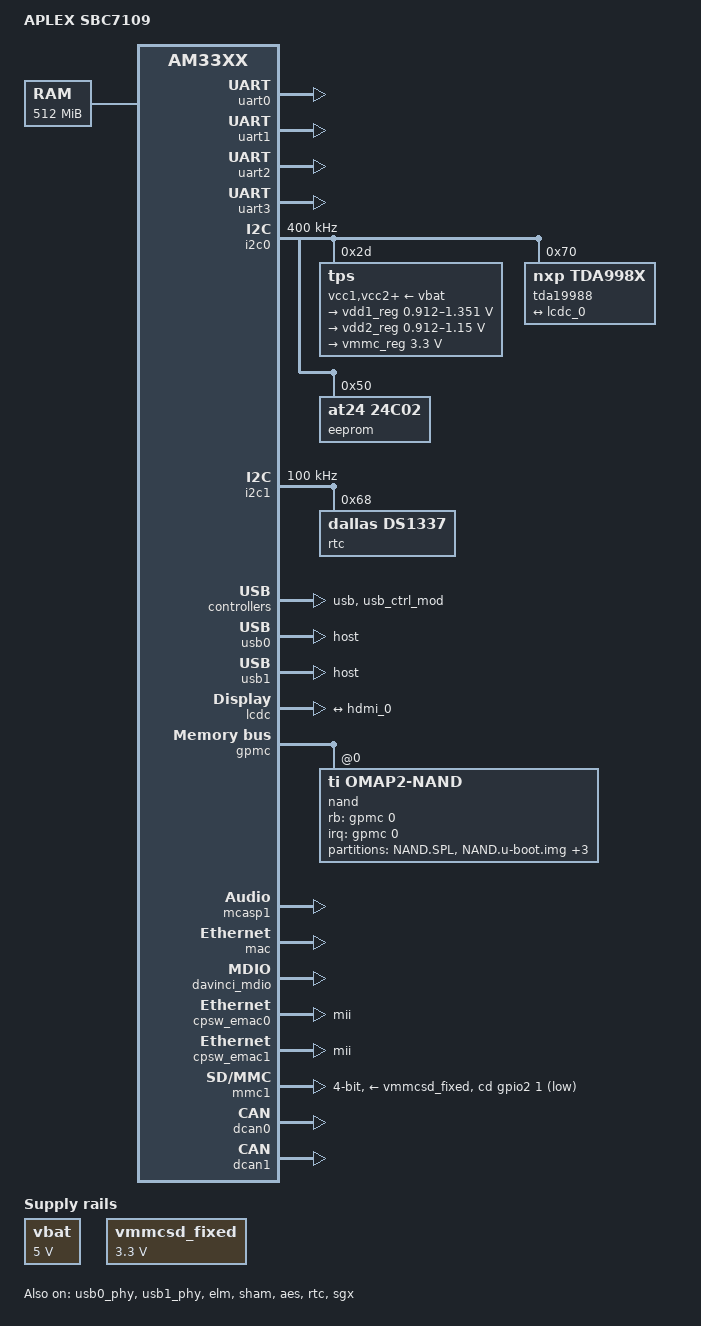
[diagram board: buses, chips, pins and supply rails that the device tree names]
/*
 * Copyright (C) 2012 Texas Instruments Incorporated - http://www.ti.com/
 *
 * This program is free software; you can redistribute it and/or modify
 * it under the terms of the GNU General Public License version 2 as
 * published by the Free Software Foundation.
 */
/dts-v1/;

#include "am33xx.dtsi"
#include <dt-bindings/interrupt-controller/irq.h>

/ {
	model = "APLEX SBC7109";
	compatible = "ti,am335x-sbc_7109_455", "ti,am33xx";

	chosen {
		linux,stdout-path = &uart1;
	};

	cpus {
		cpu@0 {
			cpu0-supply = <&vdd1_reg>;
		};
	};

	memory {
		device_type = "memory";
		reg = <0x80000000 0x20000000>; /* 512 MB */
		//reg = <0x40000000 0x20000000>; /* 256 MB */
	};

	vbat: fixedregulator@0 {
		compatible = "regulator-fixed";
		regulator-name = "vbat";
		regulator-min-microvolt = <5000000>;
		regulator-max-microvolt = <5000000>;
		regulator-boot-on;
	};

	vmmcsd_fixed: fixedregulator@0 {
		compatible = "regulator-fixed";
		regulator-name = "vmmcsd_fixed";
		regulator-min-microvolt = <3300000>;
		regulator-max-microvolt = <3300000>;
	};
};

&am33xx_pinmux {
	i2c0_pins: pinmux_i2c0_pins {
		pinctrl-single,pins = <
			0x188 (PIN_INPUT_PULLUP | MUX_MODE0)	/* i2c0_sda.i2c0_sda */
			0x18c (PIN_INPUT_PULLUP | MUX_MODE0)	/* i2c0_scl.i2c0_scl */

			0xe0 ( PIN_OUTPUT | MUX_MODE0 ) /* (U5) lcd_vsync.lcd_vsync */
			0xe4 ( PIN_OUTPUT | MUX_MODE0 ) /* (R5) lcd_hsync.lcd_hsync */
			0xe8 ( PIN_OUTPUT | MUX_MODE0 ) /* (V5) lcd_pclk.lcd_pclk */
			0xec ( PIN_OUTPUT | MUX_MODE0 ) /* (R6) lcd_ac_bias_en.lcd_ac_bias_en */
			0xa0 ( PIN_OUTPUT | MUX_MODE0 ) /* (R1) lcd_data0.lcd_data0 */
			0xa4 ( PIN_OUTPUT | MUX_MODE0 ) /* (R2) lcd_data1.lcd_data1 */
			0xa8 ( PIN_OUTPUT | MUX_MODE0 ) /* (R3) lcd_data2.lcd_data2 */
			0xac ( PIN_OUTPUT | MUX_MODE0 ) /* (R4) lcd_data3.lcd_data3 */
			0xb0 ( PIN_OUTPUT | MUX_MODE0 ) /* (T1) lcd_data4.lcd_data4 */
			0xb4 ( PIN_OUTPUT | MUX_MODE0 ) /* (T2) lcd_data5.lcd_data5 */
			0xb8 ( PIN_OUTPUT | MUX_MODE0 ) /* (T3) lcd_data6.lcd_data6 */
			0xbc ( PIN_OUTPUT | MUX_MODE0 ) /* (T4) lcd_data7.lcd_data7 */
			0xc0 ( PIN_OUTPUT | MUX_MODE0 ) /* (U1) lcd_data8.lcd_data8 */
			0xc4 ( PIN_OUTPUT | MUX_MODE0 ) /* (U2) lcd_data9.lcd_data9 */
			0xc8 ( PIN_OUTPUT | MUX_MODE0 ) /* (U3) lcd_data10.lcd_data10 */
			0xcc ( PIN_OUTPUT | MUX_MODE0 ) /* (U4) lcd_data11.lcd_data11 */
			0xd0 ( PIN_OUTPUT | MUX_MODE0 ) /* (V2) lcd_data12.lcd_data12 */
			0xd4 ( PIN_OUTPUT | MUX_MODE0 ) /* (V3) lcd_data13.lcd_data13 */
			0xd8 ( PIN_OUTPUT | MUX_MODE0 ) /* (V4) lcd_data14.lcd_data14 */
			0xdc ( PIN_OUTPUT | MUX_MODE0 ) /* (T5) lcd_data15.lcd_data15 */

		>;
	};

	i2c1_pins: pinmux_i2c1_pins {
		pinctrl-single,pins = <
			0x158 (PIN_INPUT_PULLUP | MUX_MODE2)	/* spi0_d1.i2c1_sda */
			0x15c (PIN_INPUT_PULLUP | MUX_MODE2)	/* spi0_cs0.i2c1_scl */
		>;
	};

	uart0_pins: pinmux_uart0_pins {
		pinctrl-single,pins = <
			0x170 (PIN_INPUT_PULLUP | MUX_MODE0)	/* uart0_rxd.uart0_rxd */
			0x174 (PIN_OUTPUT_PULLDOWN | MUX_MODE0)	/* uart0_txd.uart0_txd */

            0x144 (PIN_OUTPUT | MUX_MODE7)  /* mii1_refclk.gpio0_29 */
		>;
	};

    uart1_pins: pinmux_uart1_pins {
		pinctrl-single,pins = <
			0x180 (PIN_INPUT_PULLUP | MUX_MODE0)	/* uart1_rxd.uart1_rxd */
			0x184 (PIN_OUTPUT_PULLDOWN | MUX_MODE0)	/* uart1_txd.uart1_txd */
		>;
	};

    uart2_pins: pinmux_uart2_pins {
		pinctrl-single,pins = <
			0x150 (PIN_INPUT_PULLUP | MUX_MODE1)	/* spi0_sclk.uart2_rxd */
			0x154 (PIN_OUTPUT_PULLDOWN | MUX_MODE1)	/* spi0_d0.uart2_txd */

			0x20 (PIN_OUTPUT_PULLDOWN | MUX_MODE7)	/* gpmc_ad8.gpio0_22 */
		>;
	};

    uart3_pins: pinmux_uart3_pins {
		pinctrl-single,pins = <
			0x160 (PIN_INPUT_PULLUP | MUX_MODE1)	/* spi0_cs1.uart3_rxd */
			0x164 (PIN_OUTPUT_PULLDOWN | MUX_MODE1)	/* ecap0_in_pwm0_out.uart3_txd */
		>;
	};

	nandflash_pins_s0: nandflash_pins_s0 {
		pinctrl-single,pins = <
			0x0 (PIN_INPUT_PULLUP | MUX_MODE0)	/* gpmc_ad0.gpmc_ad0 */
			0x4 (PIN_INPUT_PULLUP | MUX_MODE0)	/* gpmc_ad1.gpmc_ad1 */
			0x8 (PIN_INPUT_PULLUP | MUX_MODE0)	/* gpmc_ad2.gpmc_ad2 */
			0xc (PIN_INPUT_PULLUP | MUX_MODE0)	/* gpmc_ad3.gpmc_ad3 */
			0x10 (PIN_INPUT_PULLUP | MUX_MODE0)	/* gpmc_ad4.gpmc_ad4 */
			0x14 (PIN_INPUT_PULLUP | MUX_MODE0)	/* gpmc_ad5.gpmc_ad5 */
			0x18 (PIN_INPUT_PULLUP | MUX_MODE0)	/* gpmc_ad6.gpmc_ad6 */
			0x1c (PIN_INPUT_PULLUP | MUX_MODE0)	/* gpmc_ad7.gpmc_ad7 */
			0x70 (PIN_INPUT_PULLUP | MUX_MODE0)	/* gpmc_wait0.gpmc_wait0 */
			0x7c (PIN_OUTPUT | MUX_MODE0)		/* gpmc_csn0.gpmc_csn0  */
			0x90 (PIN_OUTPUT | MUX_MODE0)		/* gpmc_advn_ale.gpmc_advn_ale */
			0x94 (PIN_OUTPUT | MUX_MODE0)		/* gpmc_oen_ren.gpmc_oen_ren */
			0x98 (PIN_OUTPUT | MUX_MODE0)		/* gpmc_wen.gpmc_wen */
			0x9c (PIN_OUTPUT | MUX_MODE0)		/* gpmc_be0n_cle.gpmc_be0n_cle */
		>;
	};

     emmc_pins: pinmux_emmc_pins {
   // 	pinctrl-single,pins = <
   // 		0x80 (PIN_INPUT_PULLUP | MUX_MODE2) /* gpmc_csn1.mmc1_clk */
   // 		0x84 (PIN_INPUT_PULLUP | MUX_MODE2) /* gpmc_csn2.mmc1_cmd */
   // 		0x00 (PIN_INPUT_PULLUP | MUX_MODE1) /* gpmc_ad0.mmc1_dat0 */
   // 		0x04 (PIN_INPUT_PULLUP | MUX_MODE1) /* gpmc_ad1.mmc1_dat1 */
   // 		0x08 (PIN_INPUT_PULLUP | MUX_MODE1) /* gpmc_ad2.mmc1_dat2 */
   // 		0x0c (PIN_INPUT_PULLUP | MUX_MODE1) /* gpmc_ad3.mmc1_dat3 */
   // 		0x10 (PIN_INPUT_PULLUP | MUX_MODE1) /* gpmc_ad4.mmc1_dat4 */
   // 		0x14 (PIN_INPUT_PULLUP | MUX_MODE1) /* gpmc_ad5.mmc1_dat5 */
   // 		0x18 (PIN_INPUT_PULLUP | MUX_MODE1) /* gpmc_ad6.mmc1_dat6 */
   // 		0x1c (PIN_INPUT_PULLUP | MUX_MODE1) /* gpmc_ad7.mmc1_dat7 */
   // 	>;
     };

	mmc1_pins: pinmux_mmc1_pins {
		pinctrl-single,pins = <
			0xf0 (PIN_INPUT_PULLUP | MUX_MODE0)	/* mmc0_dat3 */
			0xf4 (PIN_INPUT_PULLUP | MUX_MODE0)	/* mmc0_dat2 */
			0xf8 (PIN_INPUT_PULLUP | MUX_MODE0)	/* mmc0_dat1 */
			0xfc (PIN_INPUT_PULLUP | MUX_MODE0)	/* mmc0_dat0 */
			0x100 (PIN_INPUT_PULLUP | MUX_MODE0)	/* mmc0_clk */
			0x104 (PIN_INPUT_PULLUP | MUX_MODE0)	/* mmc0_cmd */
			0x8c (PIN_INPUT | MUX_MODE7)	/* gpmc_clk.gpio2_1  sd_cs */
		>;
	};

	cpsw_default: cpsw_default {
		pinctrl-single,pins = <
			/* Slave 1 */
			0x110 ( PIN_INPUT_PULLDOWN | MUX_MODE0 )    /* (J15) ggmii1_rxer */
			0x114 ( PIN_OUTPUT         | MUX_MODE0 )	/* (J16) gmii1_txen */
			0x118 ( PIN_INPUT_PULLDOWN | MUX_MODE0 )	/* (J17) gmii1_rxdv */
			0x11c ( PIN_OUTPUT         | MUX_MODE0 )	/* (J18) gmii1_txd3 */
			0x120 ( PIN_OUTPUT         | MUX_MODE0 )	/* (K15) gmii1_txd2 */
			0x124 ( PIN_OUTPUT         | MUX_MODE0 )	/* (K16) gmii1_txd1 */
			0x128 ( PIN_OUTPUT         | MUX_MODE0 )	/* (K17) gmii1_txd0 */
			0x12c ( PIN_INPUT_PULLDOWN | MUX_MODE0 )	/* (K18) gmii1_txclk */
			0x130 ( PIN_INPUT_PULLDOWN | MUX_MODE0 )	/* (L18) gmii1_rxclk */
			0x134 ( PIN_INPUT_PULLDOWN | MUX_MODE0 )	/* (L17) gmii1_rxd3 */
			0x138 ( PIN_INPUT_PULLDOWN | MUX_MODE0 )	/* (L16) gmii1_rxd2 */
			0x13c ( PIN_INPUT_PULLDOWN | MUX_MODE0 )	/* (L15) gmii1_rxd1 */
			0x140 ( PIN_INPUT_PULLDOWN | MUX_MODE0 )	/* (M16) gmii1_rxd0 */
			0x74 ( PIN_INPUT_PULLDOWN  | MUX_MODE1 )    /* (U17) gpmc_wpn.gmii2_rxerr */
			0x40 ( PIN_OUTPUT          | MUX_MODE1 )    /* (R13) gpmc_a0.gmii2_txen */
			0x44 ( PIN_INPUT_PULLDOWN  | MUX_MODE1 )    /* (V14) gpmc_a1.gmii2_rxdv */
			0x58 ( PIN_INPUT_PULLDOWN  | MUX_MODE1 )    /* (U15) gpmc_a6.gmii2_txclk */
			0x5c ( PIN_INPUT_PULLDOWN  | MUX_MODE1 )    /* (T15) gpmc_a7.gmii2_rxclk */
			0x54 ( PIN_OUTPUT          | MUX_MODE1 )    /* (V15) gpmc_a5.gmii2_txd0 */
			0x50 ( PIN_OUTPUT          | MUX_MODE1 )    /* (R14) gpmc_a4.gmii2_txd1 */
			0x4c ( PIN_OUTPUT          | MUX_MODE1 )    /* (T14) gpmc_a3.gmii2_txd2 */
			0x48 ( PIN_OUTPUT          | MUX_MODE1 )    /* (U14) gpmc_a2.gmii2_txd3 */
			0x6c ( PIN_INPUT           | MUX_MODE1 )    /* (V17) gpmc_a11.gmii2_rxd0 */
			0x68 ( PIN_INPUT           | MUX_MODE1 )    /* (T16) gpmc_a10.gmii2_rxd1 */
			0x64 ( PIN_INPUT           | MUX_MODE1 )    /* (U16) gpmc_a9.gmii2_rxd2 */
			0x60 ( PIN_INPUT           | MUX_MODE1 )    /* (V16) gpmc_a8.gmii2_rxd3 */
		>;
	};

	cpsw_sleep: cpsw_sleep {
		pinctrl-single,pins = <
			/* Slave 1 reset value */
			0x114 (PIN_INPUT_PULLDOWN | MUX_MODE7)
			0x118 (PIN_INPUT_PULLDOWN | MUX_MODE7)
			0x11c (PIN_INPUT_PULLDOWN | MUX_MODE7)
			0x120 (PIN_INPUT_PULLDOWN | MUX_MODE7)
			0x124 (PIN_INPUT_PULLDOWN | MUX_MODE7)
			0x128 (PIN_INPUT_PULLDOWN | MUX_MODE7)
			0x12c (PIN_INPUT_PULLDOWN | MUX_MODE7)
			0x130 (PIN_INPUT_PULLDOWN | MUX_MODE7)
			0x134 (PIN_INPUT_PULLDOWN | MUX_MODE7)
			0x138 (PIN_INPUT_PULLDOWN | MUX_MODE7)
			0x13c (PIN_INPUT_PULLDOWN | MUX_MODE7)
			0x140 (PIN_INPUT_PULLDOWN | MUX_MODE7)
			0x78 ( PIN_INPUT_PULLDOWN | MUX_MODE7 ) /* (U18) gpmc_be1n.gmii2_col */
			0x74 ( PIN_INPUT_PULLDOWN | MUX_MODE7 ) /* (U17) gpmc_wpn.gmii2_rxer */
			0x40 ( PIN_INPUT_PULLDOWN | MUX_MODE7 ) /* (R13) gpmc_a0.gmii2_txen */
			0x44 ( PIN_INPUT_PULLDOWN | MUX_MODE7 ) /* (V14) gpmc_a1.gmii2_rxdv */
			0x58 ( PIN_INPUT_PULLDOWN | MUX_MODE7 ) /* (U15) gpmc_a6.gmii2_txclk */
			0x5c ( PIN_INPUT_PULLDOWN | MUX_MODE7 ) /* (T15) gpmc_a7.gmii2_rxclk */
			0x54 ( PIN_INPUT_PULLDOWN | MUX_MODE7 ) /* (V15) gpmc_a5.gmii2_txd0 */
			0x50 ( PIN_INPUT_PULLDOWN | MUX_MODE7 ) /* (R14) gpmc_a4.gmii2_txd1 */
			0x4c ( PIN_INPUT_PULLDOWN | MUX_MODE7 ) /* (T14) gpmc_a3.gmii2_txd2 */
			0x48 ( PIN_INPUT_PULLDOWN | MUX_MODE7 ) /* (U14) gpmc_a2.gmii2_txd3 */
			0x6c ( PIN_INPUT_PULLDOWN | MUX_MODE7 ) /* (V17) gpmc_a11.gmii2_rxd0 */
			0x68 ( PIN_INPUT_PULLDOWN | MUX_MODE7 ) /* (T16) gpmc_a10.gmii2_rxd1 */
			0x64 ( PIN_INPUT_PULLDOWN | MUX_MODE7 ) /* (U16) gpmc_a9.gmii2_rxd2 */
			0x60 ( PIN_INPUT_PULLDOWN | MUX_MODE7 ) /* (V16) gpmc_a8.gmii2_rxd3 */
		>;
	};

	davinci_mdio_default: davinci_mdio_default {
		pinctrl-single,pins = <
			/* MDIO */
			0x148 (PIN_INPUT_PULLUP | SLEWCTRL_FAST | MUX_MODE0)	/* mdio_data.mdio_data */
			0x14c (PIN_OUTPUT_PULLUP | MUX_MODE0)			/* mdio_clk.mdio_clk */
		>;
	};

	davinci_mdio_sleep: davinci_mdio_sleep {
		pinctrl-single,pins = <
			/* MDIO reset value */
			0x148 (PIN_INPUT_PULLDOWN | MUX_MODE7)
			0x14c (PIN_INPUT_PULLDOWN | MUX_MODE7)
		>;
	};

	lcd_pins_s0: lcd_pins_s0 {
		pinctrl-single,pins = <
			0xe0 ( PIN_OUTPUT | MUX_MODE0 ) /* (U5) lcd_vsync.lcd_vsync */
			0xe4 ( PIN_OUTPUT | MUX_MODE0 ) /* (R5) lcd_hsync.lcd_hsync */
			0xe8 ( PIN_OUTPUT | MUX_MODE0 ) /* (V5) lcd_pclk.lcd_pclk */
			0xec ( PIN_OUTPUT | MUX_MODE0 ) /* (R6) lcd_ac_bias_en.lcd_ac_bias_en */
			0xa0 ( PIN_OUTPUT | MUX_MODE0 ) /* (R1) lcd_data0.lcd_data0 */
			0xa4 ( PIN_OUTPUT | MUX_MODE0 ) /* (R2) lcd_data1.lcd_data1 */
			0xa8 ( PIN_OUTPUT | MUX_MODE0 ) /* (R3) lcd_data2.lcd_data2 */
			0xac ( PIN_OUTPUT | MUX_MODE0 ) /* (R4) lcd_data3.lcd_data3 */
			0xb0 ( PIN_OUTPUT | MUX_MODE0 ) /* (T1) lcd_data4.lcd_data4 */
			0xb4 ( PIN_OUTPUT | MUX_MODE0 ) /* (T2) lcd_data5.lcd_data5 */
			0xb8 ( PIN_OUTPUT | MUX_MODE0 ) /* (T3) lcd_data6.lcd_data6 */
			0xbc ( PIN_OUTPUT | MUX_MODE0 ) /* (T4) lcd_data7.lcd_data7 */
			0xc0 ( PIN_OUTPUT | MUX_MODE0 ) /* (U1) lcd_data8.lcd_data8 */
			0xc4 ( PIN_OUTPUT | MUX_MODE0 ) /* (U2) lcd_data9.lcd_data9 */
			0xc8 ( PIN_OUTPUT | MUX_MODE0 ) /* (U3) lcd_data10.lcd_data10 */
			0xcc ( PIN_OUTPUT | MUX_MODE0 ) /* (U4) lcd_data11.lcd_data11 */
			0xd0 ( PIN_OUTPUT | MUX_MODE0 ) /* (V2) lcd_data12.lcd_data12 */
			0xd4 ( PIN_OUTPUT | MUX_MODE0 ) /* (V3) lcd_data13.lcd_data13 */
			0xd8 ( PIN_OUTPUT | MUX_MODE0 ) /* (V4) lcd_data14.lcd_data14 */
			0xdc ( PIN_OUTPUT | MUX_MODE0 ) /* (T5) lcd_data15.lcd_data15 */
		>;
	};

	mcasp1_pins: mcasp1_pins {
		pinctrl-single,pins = <
//			0x1ac ( PIN_INPUT | MUX_MODE2 ) /* (A14) mcasp0_ahclkx.mcasp0_axr3 */ //DOUT
//			0x1a0 ( PIN_INPUT | MUX_MODE0 ) /* (B12) mcasp0_aclkr.mcasp0_aclkr */ //BCLK
//			0x1a4 ( PIN_INPUT | MUX_MODE0 ) /* (C13) mcasp0_fsr.mcasp0_fsr */ //WCLK
//			0x1a8 ( PIN_INPUT | MUX_MODE0 ) /* (D13) mcasp0_axr1.mcasp0_axr1 */ //DIN
			0x1ac ( PIN_INPUT_PULLDOWN | MUX_MODE3 ) /* (A14) mcasp0_ahclkx.mcasp1_axr1 */ //DOUT
			0x1a0 ( PIN_INPUT_PULLDOWN | MUX_MODE3 ) /* (B12) mcasp0_aclkr.mcasp1_aclkx */ //BCLK
			0x1a4 ( PIN_INPUT_PULLDOWN | MUX_MODE3 ) /* (C13) mcasp0_fsr.mcasp1_fsx */ //WCLK
			0x1a8 ( PIN_OUTPUT_PULLDOWN | MUX_MODE3 ) /* (D13) mcasp0_axr1.mcasp1_axr0 */ //DIN
		>;
	};

	mcasp1_pins_sleep: mcasp1_pins_sleep {
		pinctrl-single,pins = <
			0x1ac (PIN_INPUT_PULLDOWN | MUX_MODE7)
			0x1a0 (PIN_INPUT_PULLDOWN | MUX_MODE7)
			0x1a4 (PIN_INPUT_PULLDOWN | MUX_MODE7)
			0x1a8 (PIN_INPUT_PULLDOWN | MUX_MODE7)
		>;
	};

	dcan0_pins_default: dcan0_pins_default {
		pinctrl-single,pins = <
			0x178 (PIN_OUTPUT | MUX_MODE2) /* uart1_ctsn.d_can0_tx */
			0x17c (PIN_INPUT_PULLDOWN | MUX_MODE2) /* uart1_rtsn.d_can0_rx */
		>;
	};

	dcan1_pins_default: dcan1_pins_default {
		pinctrl-single,pins = <
			0x168 (PIN_OUTPUT | MUX_MODE2) /* uart0_ctsn.d_can1_tx */
			0x16c (PIN_INPUT_PULLDOWN | MUX_MODE2) /* uart0_rtsn.d_can1_rx */
		>;
	};
};

&uart0 {
	pinctrl-names = "default";
	pinctrl-0 = <&uart0_pins>;

	status = "okay";
};

&uart1 {
	pinctrl-names = "default";
	pinctrl-0 = <&uart1_pins>;

	status = "okay";
};

&uart2 {
	pinctrl-names = "default";
	pinctrl-0 = <&uart2_pins>;

	status = "okay";
};

&uart3 {
	pinctrl-names = "default";
	pinctrl-0 = <&uart3_pins>;

	status = "okay";
};

&i2c0 {
	pinctrl-names = "default";
	pinctrl-0 = <&i2c0_pins>;

	status = "okay";
	clock-frequency = <400000>;

	tps: tps@2d {
		reg = <0x2d>;
	};

	tda19988: tda19988 {
		compatible = "nxp,tda998x";
		reg = <0x70>;

		ports {
			port@0 {
				hdmi_0: endpoint@0 {
					remote-endpoint = <&lcdc_0>;
				};
			};
		};
	};

    eeprom@50 {
        compatible = "at24,24c02";
        reg = <0x50>;
    };
};

&i2c1 {
    pinctrl-names = "default";
    pinctrl-0 = <&i2c1_pins>;

    status = "okay";
    clock-frequency = <100000>;

    rtc@68 {
        compatible = "dallas,ds1337";
        reg = <0x68>;
    };
};

&usb {
	status = "okay";
};

&usb_ctrl_mod {
	status = "okay";
};

&usb0_phy {
	status = "okay";
};

&usb1_phy {
	status = "okay";
};

&usb0 {
	status = "okay";
	dr_mode = "host";
};

&usb1 {
	status = "okay";
	dr_mode = "host";
};

&cppi41dma  {
	status = "okay";
};

&lcdc {
	status = "okay";

	blue-and-red-wiring = "straight";

	port {
		lcdc_0: endpoint@0 {
			remote-endpoint = <&hdmi_0>;
		};
	};
};

&elm {
	status = "okay";
};

&epwmss0 {
	status = "disabled";
};

&epwmss1 {
	status = "disabled";
};


&gpmc {
	status = "okay";
	pinctrl-names = "default";
	pinctrl-0 = <&nandflash_pins_s0>;
	ranges = <0 0 0x08000000 0x1000000>;	// CS0: 16MB for NAND
	nand@0,0 {
		compatible = "ti,omap2-nand";
		reg = <0 0 4>;                  // CS0, offset 0, IO size 4
		interrupt-parent = <&gpmc>;
		interrupts = <0 IRQ_TYPE_NONE>, // fifoevent
			     <1 IRQ_TYPE_NONE>;	    // termcount
		rb-gpios = <&gpmc 0 GPIO_ACTIVE_HIGH>; // gpmc_wait0
		ti,nand-ecc-opt = "bch8";
		ti,elm-id = <&elm>;
		nand-bus-width = <8>;
		gpmc,device-width = <1>;
		gpmc,sync-clk-ps = <0>;
		gpmc,cs-on-ns = <0>;
		gpmc,cs-rd-off-ns = <44>;
		gpmc,cs-wr-off-ns = <44>;
		gpmc,adv-on-ns = <6>;
		gpmc,adv-rd-off-ns = <34>;
		gpmc,adv-wr-off-ns = <44>;
		gpmc,we-on-ns = <0>;
		gpmc,we-off-ns = <40>;
		gpmc,oe-on-ns = <0>;
		gpmc,oe-off-ns = <54>;
		gpmc,access-ns = <64>;
		gpmc,rd-cycle-ns = <82>;
		gpmc,wr-cycle-ns = <82>;
		gpmc,bus-turnaround-ns = <0>;
		gpmc,cycle2cycle-delay-ns = <0>;
		gpmc,clk-activation-ns = <0>;
		gpmc,wr-access-ns = <40>;
		gpmc,wr-data-mux-bus-ns = <0>;
		// MTD partition table
		// All SPL-* partitions are sized to minimal length
		// which can be independently programmable. For
		// NAND flash this is equal to size of erase-block
		#address-cells = <1>;
		#size-cells = <1>;
		partition@0 {
			label = "NAND.SPL";
			reg = <0x00000000 0x000080000>;
		};
		partition@1 {
			label = "NAND.u-boot.img";
			reg = <0x00080000 0x00200000>;
		};
		partition@2 {
			label = "NAND.kernel.img";
			reg = <0x00280000 0x01480000>;
		};
		partition@3 {
			label = "NAND.kernel.dts";
			reg = <0x01700000 0x00080000>;
		};
		partition@4 {
			label = "NAND.rootfs.ubi";
			reg = <0x01780000 0x0F880000>;
		};
	};
};


#include "tps65910.dtsi"

&mcasp1 {
	#sound-dai-cells = <0>;
	pinctrl-names = "default", "sleep";
	pinctrl-0 = <&mcasp1_pins>;
	pinctrl-1 = <&mcasp1_pins_sleep>;

	status = "okay";

	op-mode = <0>;          /* MCASP_IIS_MODE */
	tdm-slots = <2>;
	/* 4 serializers */
	//serial-dir = <  /* 0: INACTIVE, 1: TX, 2: RX */
	//	0 1 0 2
	//>;
	serial-dir = <  /* 0: INACTIVE, 1: TX, 2: RX */
		1 2 0 0
	>;
	tx-num-evt = <32>;
	rx-num-evt = <32>;
};

&tps {
	vcc1-supply = <&vbat>;
	vcc2-supply = <&vbat>;
	vcc3-supply = <&vbat>;
	vcc4-supply = <&vbat>;
	vcc5-supply = <&vbat>;
	vcc6-supply = <&vbat>;
	vcc7-supply = <&vbat>;
	vccio-supply = <&vbat>;

	regulators {
		vrtc_reg: regulator@0 {
			regulator-always-on;
		};

		vio_reg: regulator@1 {
			regulator-always-on;
		};

		vdd1_reg: regulator@2 {
			/* VDD_MPU voltage limits 0.95V - 1.26V with +/-4% tolerance */
			regulator-name = "vdd_mpu";
			regulator-min-microvolt = <912500>;
			regulator-max-microvolt = <1351500>;
			regulator-boot-on;
			regulator-always-on;
		};

		vdd2_reg: regulator@3 {
			/* VDD_CORE voltage limits 0.95V - 1.1V with +/-4% tolerance */
			regulator-name = "vdd_core";
			regulator-min-microvolt = <912500>;
			regulator-max-microvolt = <1150000>;
			regulator-boot-on;
			regulator-always-on;
		};

		vdd3_reg: regulator@4 {
			regulator-always-on;
		};

		vdig1_reg: regulator@5 {
			regulator-always-on;
		};

		vdig2_reg: regulator@6 {
			regulator-always-on;
		};

		vpll_reg: regulator@7 {
			regulator-always-on;
		};

		vdac_reg: regulator@8 {
			regulator-always-on;
		};

		vaux1_reg: regulator@9 {
			regulator-always-on;
		};

		vaux2_reg: regulator@10 {
			regulator-always-on;
		};

		vaux33_reg: regulator@11 {
			regulator-always-on;
		};

		vmmc_reg: regulator@12 {
			regulator-min-microvolt = <3300000>;
			regulator-max-microvolt = <3300000>;
			regulator-always-on;
		};
	};
};

&mac {
	pinctrl-names = "default", "sleep";
	pinctrl-0 = <&cpsw_default>;
	pinctrl-1 = <&cpsw_sleep>;
	dual_emac = <1>;
	status = "okay";
};

&davinci_mdio {
	pinctrl-names = "default", "sleep";
	pinctrl-0 = <&davinci_mdio_default>;
	pinctrl-1 = <&davinci_mdio_sleep>;
	status = "okay";
};

&cpsw_emac0 {
	phy_id = <&davinci_mdio>, <0>;
	phy-mode = "mii";
	dual_emac_res_vlan = <1>;
};

&cpsw_emac1 {
	phy_id = <&davinci_mdio>, <1>;
	phy-mode = "mii";
	dual_emac_res_vlan = <2>;
};

&mmc1 {
	vmmc-supply = <&vmmcsd_fixed>;
	status = "okay";
	bus-width = <0x4>;
	pinctrl-names = "default";
	pinctrl-0 = <&mmc1_pins>;
	cd-gpios = <&gpio2 1 GPIO_ACTIVE_LOW>;
    max-frequency = <25000000>;
};

&mmc2 {
	vmmc-supply = <&vmmcsd_fixed>;
	pinctrl-names = "default";
	pinctrl-0 = <&emmc_pins>;
	bus-width = <8>;
	status = "disabled";
};

&sham {
	status = "okay";
};

&aes {
	status = "okay";
};

&dcan0 {
	status = "okay";
	pinctrl-names = "default";
	pinctrl-0 = <&dcan0_pins_default>;
};

&dcan1 {
	status = "okay";
	pinctrl-names = "default";
	pinctrl-0 = <&dcan1_pins_default>;
};

&wkup_m3_ipc {
	ti,scale-data-fw = "am335x-evm-scale-data.bin";
};

&rtc {
	status = "okay";
	system-power-controller;
};

&sgx {
	status = "okay";
};
